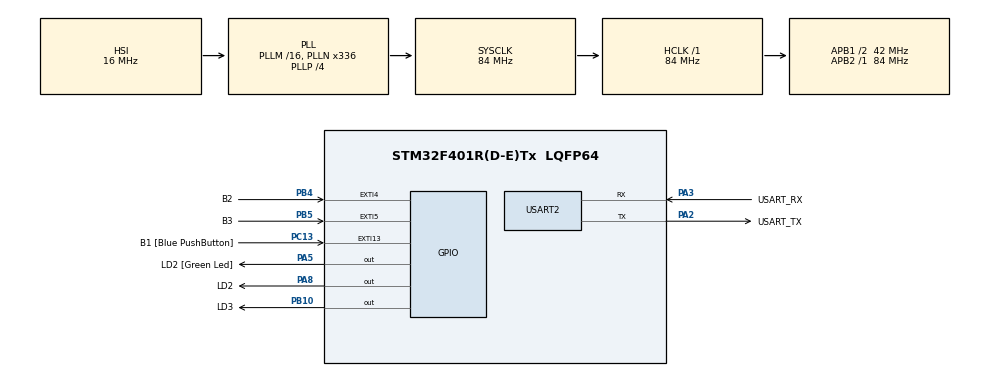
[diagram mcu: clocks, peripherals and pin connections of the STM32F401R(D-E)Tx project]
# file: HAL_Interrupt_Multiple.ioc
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Mcu.Family=STM32F4
Mcu.Name=STM32F401R(D-E)Tx
Mcu.Package=LQFP64
NVIC.EXTI15_10_IRQn=true\:0\:0\:false\:false\:true\:true\:true\:true
NVIC.EXTI4_IRQn=true\:0\:0\:false\:false\:true\:true\:true\:true
NVIC.EXTI9_5_IRQn=true\:0\:0\:false\:false\:true\:true\:true\:true
NVIC.PriorityGroup=NVIC_PRIORITYGROUP_0
PA13.GPIO_Label=TMS
PA13.Mode=Serial_Wire
PA13.Signal=SYS_JTMS-SWDIO
PA14.GPIO_Label=TCK
PA14.Mode=Serial_Wire
PA14.Signal=SYS_JTCK-SWCLK
PA2.GPIO_Label=USART_TX
PA2.GPIO_Mode=GPIO_MODE_AF_PP
PA2.GPIO_PuPd=GPIO_NOPULL
PA2.GPIO_Speed=GPIO_SPEED_FREQ_LOW
PA2.Mode=Asynchronous
PA2.Signal=USART2_TX
PA3.GPIO_Label=USART_RX
PA3.GPIO_Mode=GPIO_MODE_AF_PP
PA3.GPIO_PuPd=GPIO_NOPULL
PA3.GPIO_Speed=GPIO_SPEED_FREQ_LOW
PA3.Mode=Asynchronous
PA3.Signal=USART2_RX
PA5.GPIO_Label=LD2 [Green Led]
PA5.GPIO_Mode=GPIO_MODE_OUTPUT_PP
PA5.GPIO_PuPd=GPIO_NOPULL
PA5.GPIO_Speed=GPIO_SPEED_FREQ_LOW
PA5.Signal=GPIO_Output
PA8.GPIO_Label=LD2
PA8.Signal=GPIO_Output
PB10.GPIO_Label=LD3
PB10.Signal=GPIO_Output
PB3.GPIO_Label=SWO
PB3.Signal=SYS_JTDO-SWO
PB4.GPIO_Label=B2
PB4.GPIO_ModeDefaultEXTI=GPIO_MODE_IT_FALLING
PB4.GPIO_PuPd=GPIO_PULLUP
PB4.Signal=GPXTI4
PB5.GPIO_Label=B3
PB5.GPIO_ModeDefaultEXTI=GPIO_MODE_IT_FALLING
PB5.GPIO_PuPd=GPIO_PULLUP
PB5.Signal=GPXTI5
PC13-ANTI_TAMP.GPIO_Label=B1 [Blue PushButton]
PC13-ANTI_TAMP.GPIO_ModeDefaultEXTI=GPIO_MODE_IT_FALLING
PC13-ANTI_TAMP.GPIO_PuPd=GPIO_NOPULL
PC13-ANTI_TAMP.Signal=GPXTI13
PC14-OSC32_IN.Mode=LSE-External-Oscillator
PC14-OSC32_IN.Signal=RCC_OSC32_IN
PC15-OSC32_OUT.Mode=LSE-External-Oscillator
PC15-OSC32_OUT.Signal=RCC_OSC32_OUT
PH0\ -\ OSC_IN.Mode=HSE-External-Clock-Source
PH0\ -\ OSC_IN.Signal=RCC_OSC_IN
PH1\ -\ OSC_OUT.Mode=HSE-External-Clock-Source
PH1\ -\ OSC_OUT.Signal=RCC_OSC_OUT
ProjectManager.HeapSize=0x200
ProjectManager.StackSize=0x400
ProjectManager.TargetToolchain=STM32CubeIDE
RCC.48MHZClocksFreq_Value=48000000
RCC.AHBFreq_Value=84000000
RCC.APB1CLKDivider=RCC_HCLK_DIV2
RCC.APB1Freq_Value=42000000
RCC.APB1TimFreq_Value=84000000
RCC.APB2Freq_Value=84000000
RCC.APB2TimFreq_Value=84000000
RCC.CortexFreq_Value=84000000
RCC.HCLKFreq_Value=84000000
RCC.HSE_VALUE=8000000
RCC.HSI_VALUE=16000000
RCC.PLLN=336
RCC.PLLP=RCC_PLLP_DIV4
RCC.PLLQ=7
RCC.SYSCLKFreq_VALUE=84000000
RCC.SYSCLKSource=RCC_SYSCLKSOURCE_PLLCLK
RCC.VCOOutputFreq_Value=336000000
USART2.VirtualMode=VM_ASYNC
board=NUCLEO-F401RE

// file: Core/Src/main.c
/* USER CODE BEGIN Header */
/**
  ******************************************************************************
  * @file           : main.c
  * @brief          : Main program body
  ******************************************************************************
  * @attention
  *
  * Copyright (c) 2024 STMicroelectronics.
  * All rights reserved.
  *
  * This software is licensed under terms that can be found in the LICENSE file
  * in the root directory of this software component.
  * If no LICENSE file comes with this software, it is provided AS-IS.
  *
  ******************************************************************************
  */
/* USER CODE END Header */
#include "main.h"

 UART_HandleTypeDef huart2;

void SystemClock_Config(void);
static void MX_GPIO_Init(void);
static void MX_USART2_UART_Init(void);
/* USER CODE BEGIN PFP */

void delay(uint8_t time);

/* USER CODE END PFP */

int main(void)
{

  /* MCU Configuration--------------------------------------------------------*/

  /* Reset of all peripherals, Initializes the Flash interface and the Systick. */
  HAL_Init();

  /* Configure the system clock */
  SystemClock_Config();

  /* Initialize all configured peripherals */
  MX_GPIO_Init();
  MX_USART2_UART_Init();

  /* Infinite loop */
  while (1)
  {

  }
}

void SystemClock_Config(void)
{
  RCC_OscInitTypeDef RCC_OscInitStruct = {0};
  RCC_ClkInitTypeDef RCC_ClkInitStruct = {0};

  /** Configure the main internal regulator output voltage
  */
  __HAL_RCC_PWR_CLK_ENABLE();
  __HAL_PWR_VOLTAGESCALING_CONFIG(PWR_REGULATOR_VOLTAGE_SCALE2);

  /** Initializes the RCC Oscillators according to the specified parameters
  * in the RCC_OscInitTypeDef structure.
  */
  RCC_OscInitStruct.OscillatorType = RCC_OSCILLATORTYPE_HSI;
  RCC_OscInitStruct.HSIState = RCC_HSI_ON;
  RCC_OscInitStruct.HSICalibrationValue = RCC_HSICALIBRATION_DEFAULT;
  RCC_OscInitStruct.PLL.PLLState = RCC_PLL_ON;
  RCC_OscInitStruct.PLL.PLLSource = RCC_PLLSOURCE_HSI;
  RCC_OscInitStruct.PLL.PLLM = 16;
  RCC_OscInitStruct.PLL.PLLN = 336;
  RCC_OscInitStruct.PLL.PLLP = RCC_PLLP_DIV4;
  RCC_OscInitStruct.PLL.PLLQ = 7;
  if (HAL_RCC_OscConfig(&RCC_OscInitStruct) != HAL_OK)
  {
    Error_Handler();
  }

  /** Initializes the CPU, AHB and APB buses clocks
  */
  RCC_ClkInitStruct.ClockType = RCC_CLOCKTYPE_HCLK|RCC_CLOCKTYPE_SYSCLK
                              |RCC_CLOCKTYPE_PCLK1|RCC_CLOCKTYPE_PCLK2;
  RCC_ClkInitStruct.SYSCLKSource = RCC_SYSCLKSOURCE_PLLCLK;
  RCC_ClkInitStruct.AHBCLKDivider = RCC_SYSCLK_DIV1;
  RCC_ClkInitStruct.APB1CLKDivider = RCC_HCLK_DIV2;
  RCC_ClkInitStruct.APB2CLKDivider = RCC_HCLK_DIV1;

  if (HAL_RCC_ClockConfig(&RCC_ClkInitStruct, FLASH_LATENCY_2) != HAL_OK)
  {
    Error_Handler();
  }
}

static void MX_USART2_UART_Init(void)
{

  huart2.Instance = USART2;
  huart2.Init.BaudRate = 115200;
  huart2.Init.WordLength = UART_WORDLENGTH_8B;
  huart2.Init.StopBits = UART_STOPBITS_1;
  huart2.Init.Parity = UART_PARITY_NONE;
  huart2.Init.Mode = UART_MODE_TX_RX;
  huart2.Init.HwFlowCtl = UART_HWCONTROL_NONE;
  huart2.Init.OverSampling = UART_OVERSAMPLING_16;
  if (HAL_UART_Init(&huart2) != HAL_OK)
  {
    Error_Handler();
  }

}

static void MX_GPIO_Init(void)
{
  GPIO_InitTypeDef GPIO_InitStruct = {0};

  /* GPIO Ports Clock Enable */
  __HAL_RCC_GPIOC_CLK_ENABLE();
  __HAL_RCC_GPIOH_CLK_ENABLE();
  __HAL_RCC_GPIOA_CLK_ENABLE();
  __HAL_RCC_GPIOB_CLK_ENABLE();

  /*Configure GPIO pin Output Level */
  HAL_GPIO_WritePin(GPIOA, LD2_Pin|LD2A8_Pin, GPIO_PIN_RESET);

  /*Configure GPIO pin Output Level */
  HAL_GPIO_WritePin(LD3_GPIO_Port, LD3_Pin, GPIO_PIN_RESET);

  /*Configure GPIO pin : B1_Pin */
  GPIO_InitStruct.Pin = B1_Pin;
  GPIO_InitStruct.Mode = GPIO_MODE_IT_FALLING;
  GPIO_InitStruct.Pull = GPIO_NOPULL;
  HAL_GPIO_Init(B1_GPIO_Port, &GPIO_InitStruct);

  /*Configure GPIO pins : LD2_Pin LD2A8_Pin */
  GPIO_InitStruct.Pin = LD2_Pin|LD2A8_Pin;
  GPIO_InitStruct.Mode = GPIO_MODE_OUTPUT_PP;
  GPIO_InitStruct.Pull = GPIO_NOPULL;
  GPIO_InitStruct.Speed = GPIO_SPEED_FREQ_LOW;
  HAL_GPIO_Init(GPIOA, &GPIO_InitStruct);

  /*Configure GPIO pin : LD3_Pin */
  GPIO_InitStruct.Pin = LD3_Pin;
  GPIO_InitStruct.Mode = GPIO_MODE_OUTPUT_PP;
  GPIO_InitStruct.Pull = GPIO_NOPULL;
  GPIO_InitStruct.Speed = GPIO_SPEED_FREQ_LOW;
  HAL_GPIO_Init(LD3_GPIO_Port, &GPIO_InitStruct);

  /*Configure GPIO pins : B2_Pin B3_Pin */
  GPIO_InitStruct.Pin = B2_Pin|B3_Pin;
  GPIO_InitStruct.Mode = GPIO_MODE_IT_FALLING;
  GPIO_InitStruct.Pull = GPIO_PULLUP;
  HAL_GPIO_Init(GPIOB, &GPIO_InitStruct);

  /* EXTI interrupt init*/
  HAL_NVIC_SetPriority(EXTI4_IRQn, 0, 0);
  HAL_NVIC_EnableIRQ(EXTI4_IRQn);

  HAL_NVIC_SetPriority(EXTI9_5_IRQn, 0, 0);
  HAL_NVIC_EnableIRQ(EXTI9_5_IRQn);

  HAL_NVIC_SetPriority(EXTI15_10_IRQn, 0, 0);
  HAL_NVIC_EnableIRQ(EXTI15_10_IRQn);

}

/* USER CODE BEGIN 4 */

/**
  * @brief Initialize IRQ handler
  * @retval None
  */
//void EXTI15_10_IRQHandler(void){
//	HAL_GPIO_EXTI_IRQHandler(GPIO_PIN_13);
//}
//
//void EXTI9_5_IRQHandler(void){
//	HAL_GPIO_EXTI_IRQHandler(GPIO_PIN_5);
//}
//
//void EXTI4_IRQHandler(void){
//	HAL_GPIO_EXTI_IRQHandler(GPIO_PIN_4);
//}

/**
  * @brief Interrupt Callback function
  * @retval None
  */
void HAL_GPIO_EXTI_Callback(uint16_t GPIO_Pin){

	if (GPIO_Pin == GPIO_PIN_4){

		for (uint8_t i = 0 ; i < 6 ; i ++){
			HAL_GPIO_TogglePin(GPIOB, GPIO_PIN_10);
			delay(5);
		}

	}

	if (GPIO_Pin == GPIO_PIN_5){

		for (uint8_t i = 0 ; i < 6 ; i ++){
			HAL_GPIO_TogglePin(GPIOA, GPIO_PIN_8);
			delay(10);
		}

	}

	if (GPIO_Pin == GPIO_PIN_13){
		for (uint8_t i = 0 ; i < 6 ; i ++){
			HAL_GPIO_TogglePin(GPIOA, GPIO_PIN_5);
			delay(15);
		}
	}

}

/**
  * @brief Blocking delay function
  * @retval None
  */
void delay(uint8_t time)
{
	for(uint32_t i = 0 ; i < (time * 100000) ; i ++);
}

/* USER CODE END 4 */

void Error_Handler(void)
{
  __disable_irq();
  while (1)
  {
  }
}
